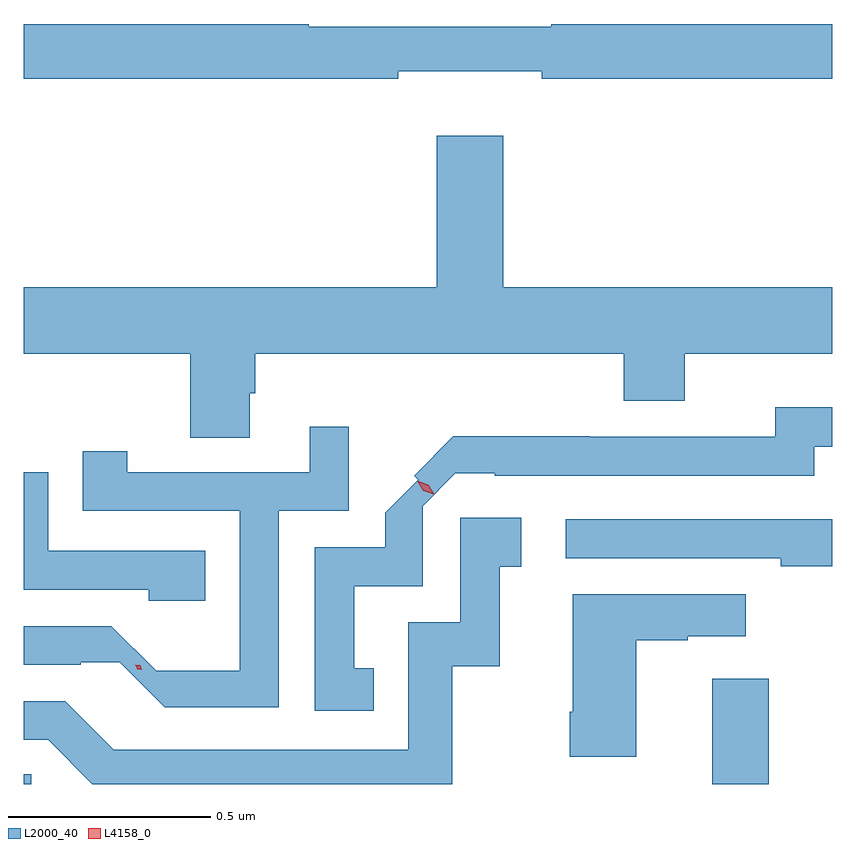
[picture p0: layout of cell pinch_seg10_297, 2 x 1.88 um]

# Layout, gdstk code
import gdstk
lib = gdstk.Library(unit=1e-6, precision=1e-09)
def R(c, l, rs):  # rectangles x0, y0, x1, y1
    for r in rs: c.add(gdstk.rectangle(r[:2], r[2:], *l))
def P(c, l, *ps):  # polygons
    for p in ps: c.add(gdstk.Polygon(p, *l))
L2000_40 = (2000, 40)
L4158_0 = (4158, 0)

pinch_seg10_297 = lib.new_cell('pinch_seg10_297')
R(pinch_seg10_297, L2000_40, [(499.65,1317.899,499.668,1317.923), (501.353,1317.899,501.493,1318.159)])
P(pinch_seg10_297, L2000_40, [(500.576,1319.663),(500.932,1319.663),(500.932,1319.644),(501.65,1319.644),(501.65,1319.78),(500.955,1319.78),(500.955,1319.773),(500.355,1319.773),(500.355,1319.78),(499.65,1319.78),(499.65,1319.644),(500.576,1319.644)],
  [(500.209,1318.866),(500.222,1318.866),(500.222,1318.964),(501.134,1318.964),(501.134,1318.847),(501.286,1318.847),(501.286,1318.964),(501.65,1318.964),(501.65,1319.128),(500.836,1319.128),(500.836,1319.503),(500.672,1319.503),(500.672,1319.128),(499.65,1319.128),(499.65,1318.964),(500.062,1318.964),(500.062,1318.756),(500.209,1318.756)],
  [(500.516,1318.185),(500.467,1318.185),(500.467,1318.389),(500.637,1318.389),(500.637,1318.587),(500.718,1318.668),(500.815,1318.668),(500.815,1318.662),(501.606,1318.662),(501.606,1318.734),(501.65,1318.734),(501.65,1318.831),(501.51,1318.831),(501.51,1318.758),(501.05,1318.758),(501.05,1318.76),(500.713,1318.76),(500.616,1318.662),(500.626,1318.652),(500.544,1318.57),(500.544,1318.485),(500.37,1318.485),(500.37,1318.08),(500.516,1318.08)],
  [(500.28,1318.575),(500.454,1318.575),(500.454,1318.783),(500.357,1318.783),(500.357,1318.671),(499.906,1318.671),(499.906,1318.723),(499.795,1318.723),(499.795,1318.575),(500.184,1318.575),(500.184,1318.179),(499.977,1318.179),(499.866,1318.29),(499.65,1318.29),(499.65,1318.194),(499.79,1318.194),(499.79,1318.2),(499.887,1318.2),(499.998,1318.089),(500.28,1318.089)],
  [(500.099,1318.476),(499.71,1318.476),(499.71,1318.671),(499.65,1318.671),(499.65,1318.38),(499.959,1318.38),(499.959,1318.353),(500.099,1318.353)],
  [(500.71,1318.191),(500.828,1318.191),(500.828,1318.437),(500.881,1318.437),(500.881,1318.558),(500.73,1318.558),(500.73,1318.299),(500.601,1318.299),(500.601,1317.984),(499.872,1317.984),(499.752,1318.104),(499.65,1318.104),(499.65,1318.008),(499.71,1318.008),(499.819,1317.899),(500.71,1317.899)],
  [(501.65,1318.554),(500.991,1318.554),(500.991,1318.458),(501.523,1318.458),(501.523,1318.438),(501.65,1318.438)],
  [(501.166,1318.255),(501.293,1318.255),(501.293,1318.265),(501.436,1318.265),(501.436,1318.369),(501.008,1318.369),(501.008,1318.078),(501.001,1318.078),(501.001,1317.966),(501.166,1317.966)])
P(pinch_seg10_297, L4158_0, [(500.664,1318.616),(500.638,1318.625),(500.624,1318.65),(500.624,1318.65),(500.624,1318.65),(500.65,1318.64),(500.665,1318.616),(500.665,1318.616)],
  [(499.942,1318.182),(499.93,1318.183),(499.93,1318.183),(499.93,1318.184),(499.926,1318.194),(499.937,1318.193),(499.938,1318.193),(499.938,1318.193)])

lib.write_gds('pinch_seg10_297.gds')
